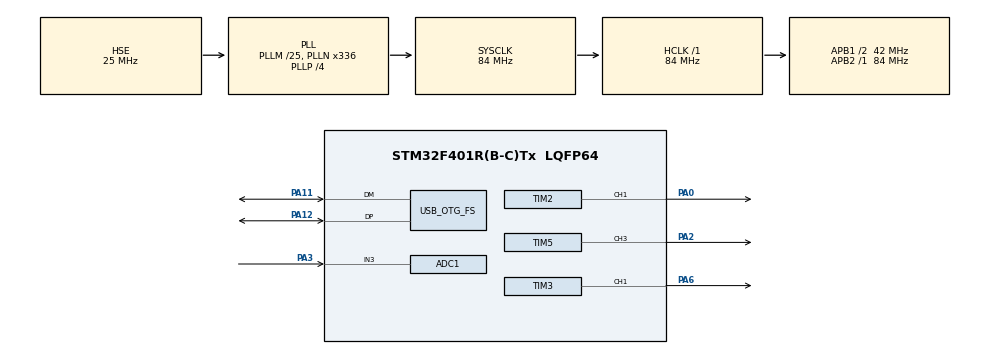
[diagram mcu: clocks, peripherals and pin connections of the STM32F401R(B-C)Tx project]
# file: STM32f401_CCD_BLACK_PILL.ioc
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ADC1.Channel-0\#ChannelRegularConversion=ADC_CHANNEL_3
ADC1.DMAContinuousRequests=ENABLE
ADC1.ExternalTrigConv=ADC_EXTERNALTRIGCONV_T4_CC4
ADC1.NbrOfConversionFlag=1
ADC1.Rank-0\#ChannelRegularConversion=1
ADC1.SamplingTime-0\#ChannelRegularConversion=ADC_SAMPLETIME_3CYCLES
ADC1.master=1
Dma.ADC1.0.Direction=DMA_PERIPH_TO_MEMORY
Dma.ADC1.0.FIFOMode=DMA_FIFOMODE_DISABLE
Dma.ADC1.0.Instance=DMA2_Stream0
Dma.ADC1.0.MemDataAlignment=DMA_MDATAALIGN_HALFWORD
Dma.ADC1.0.MemInc=DMA_MINC_ENABLE
Dma.ADC1.0.Mode=DMA_NORMAL
Dma.ADC1.0.PeriphDataAlignment=DMA_PDATAALIGN_HALFWORD
Dma.ADC1.0.PeriphInc=DMA_PINC_DISABLE
Dma.ADC1.0.Priority=DMA_PRIORITY_LOW
Dma.Request0=ADC1
Mcu.Family=STM32F4
Mcu.Name=STM32F401R(B-C)Tx
Mcu.Package=LQFP64
NVIC.DMA2_Stream0_IRQn=true\:0\:0\:false\:false\:true\:false\:true\:true
NVIC.OTG_FS_IRQn=true\:0\:0\:false\:false\:true\:false\:true\:true
NVIC.PriorityGroup=NVIC_PRIORITYGROUP_4
PA0-WKUP.Signal=S_TIM2_CH1_ETR
PA11.Mode=Device_Only
PA11.Signal=USB_OTG_FS_DM
PA12.Mode=Device_Only
PA12.Signal=USB_OTG_FS_DP
PA2.Signal=S_TIM5_CH3
PA3.Signal=ADCx_IN3
PA6.Signal=S_TIM3_CH1
PH0\ -\ OSC_IN.Mode=HSE-External-Oscillator
PH0\ -\ OSC_IN.Signal=RCC_OSC_IN
PH1\ -\ OSC_OUT.Mode=HSE-External-Oscillator
PH1\ -\ OSC_OUT.Signal=RCC_OSC_OUT
ProjectManager.HeapSize=0x200
ProjectManager.StackSize=0x400
ProjectManager.TargetToolchain=STM32CubeIDE
RCC.48MHZClocksFreq_Value=48000000
RCC.AHBFreq_Value=84000000
RCC.APB1CLKDivider=RCC_HCLK_DIV2
RCC.APB1Freq_Value=42000000
RCC.APB1TimFreq_Value=84000000
RCC.APB2Freq_Value=84000000
RCC.APB2TimFreq_Value=84000000
RCC.CortexFreq_Value=84000000
RCC.HCLKFreq_Value=84000000
RCC.HSE_VALUE=25000000
RCC.HSI_VALUE=16000000
RCC.LSE_VALUE=32768
RCC.PLLM=25
RCC.PLLN=336
RCC.PLLP=RCC_PLLP_DIV4
RCC.PLLQ=7
RCC.SYSCLKFreq_VALUE=84000000
RCC.SYSCLKSource=RCC_SYSCLKSOURCE_PLLCLK
RCC.VCOOutputFreq_Value=336000000
SH.ADCx_IN3.0=ADC1_IN3,IN3
SH.S_TIM2_CH1_ETR.0=TIM2_CH1,PWM Generation1 CH1
SH.S_TIM3_CH1.0=TIM3_CH1,PWM Generation1 CH1
SH.S_TIM5_CH3.0=TIM5_CH3,PWM Generation3 CH3
TIM2.Channel-PWM\ Generation1\ CH1=TIM_CHANNEL_1
TIM2.Period=630000-1
TIM2.Pulse-PWM\ Generation1\ CH1=840-1
TIM2.TIM_MasterOutputTrigger=TIM_TRGO_ENABLE
TIM2.TIM_MasterSlaveMode=TIM_MASTERSLAVEMODE_ENABLE
TIM3.Channel-PWM\ Generation1\ CH1=TIM_CHANNEL_1
TIM3.Period=42-1
TIM3.Pulse-PWM\ Generation1\ CH1=21-1
TIM4.Channel-PWM\ Generation4\ No\ Output=TIM_CHANNEL_4
TIM4.Period=168-1
TIM4.Pulse-PWM\ Generation4\ No\ Output=42-1
TIM5.Channel-PWM\ Generation3\ CH3=TIM_CHANNEL_3
TIM5.OCPolarity_3=TIM_OCPOLARITY_LOW
TIM5.Period=1680-1
TIM5.Pulse-PWM\ Generation3\ CH3=336-1
TIM5.TIM_MasterSlaveMode=TIM_MASTERSLAVEMODE_ENABLE
USB_DEVICE.CLASS_NAME_FS=CDC
USB_DEVICE.VirtualMode=Cdc
USB_DEVICE.VirtualModeFS=Cdc_FS
USB_OTG_FS.VirtualMode=Device_Only
VP_TIM2_VS_ClockSourceINT.Mode=Internal
VP_TIM3_VS_ClockSourceINT.Mode=Internal
VP_TIM4_VS_ClockSourceINT.Mode=Internal
VP_TIM4_VS_no_output4.Mode=PWM Generation4 No Output
VP_TIM5_VS_ClockSourceINT.Mode=Internal
VP_TIM5_VS_ClockSourceITR.Mode=TriggerSource_ITR0
VP_TIM5_VS_ControllerModeTrigger.Mode=Trigger Mode
VP_USB_DEVICE_VS_USB_DEVICE_CDC_FS.Mode=CDC_FS
board=custom

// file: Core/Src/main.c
/* USER CODE BEGIN Header */
/**
  ******************************************************************************
  * @file           : main.c
  * @brief          : Main program body
  ******************************************************************************
  * @attention
  *
  * Copyright (c) 2026 STMicroelectronics.
  * All rights reserved.
  *
  * This software is licensed under terms that can be found in the LICENSE file
  * in the root directory of this software component.
  * If no LICENSE file comes with this software, it is provided AS-IS.
  *
  ******************************************************************************
  */
/* USER CODE END Header */
#include "main.h"
#include "usb_device.h"

/* USER CODE BEGIN Includes */
#include "usbd_cdc_if.h"
#include "usbd_cdc.h"
#include <string.h>
/* USER CODE END Includes */

ADC_HandleTypeDef hadc1;
DMA_HandleTypeDef hdma_adc1;

TIM_HandleTypeDef htim2;
TIM_HandleTypeDef htim3;
TIM_HandleTypeDef htim4;
TIM_HandleTypeDef htim5;

/* USER CODE BEGIN PV */
uint32_t usbSendStartTick = 0;
volatile uint8_t pendingAck = 0;
volatile uint8_t pendingExposureUpdate = 0;
volatile uint32_t newTim2Arr = 0;
volatile uint32_t newTim5Arr = 0;
/* USER CODE END PV */

void SystemClock_Config(void);
static void MX_GPIO_Init(void);
static void MX_DMA_Init(void);
static void MX_TIM2_Init(void);
static void MX_TIM3_Init(void);
static void MX_TIM4_Init(void);
static void MX_TIM5_Init(void);
static void MX_ADC1_Init(void);

/* USER CODE BEGIN 0 */
#define CCDBuffer 3694
#define USBFrameSize (2 + CCDBuffer * 2)

volatile uint16_t CCDPixelBuffer[CCDBuffer];

volatile uint8_t frameReady = 0;
volatile uint8_t usbSending = 0;

uint8_t USBFrame[USBFrameSize];

extern USBD_HandleTypeDef hUsbDeviceFS;
/* USER CODE END 0 */

int main(void)
{

  /* MCU Configuration--------------------------------------------------------*/

  /* Reset of all peripherals, Initializes the Flash interface and the Systick. */
  HAL_Init();

  /* Configure the system clock */
  SystemClock_Config();

  /* Initialize all configured peripherals */
  MX_GPIO_Init();
  MX_DMA_Init();
  MX_TIM2_Init();
  MX_TIM3_Init();
  MX_TIM4_Init();
  MX_TIM5_Init();
  MX_USB_DEVICE_Init();
  MX_ADC1_Init();
  /* USER CODE BEGIN 2 */
  HAL_TIM_PWM_Start(&htim2, TIM_CHANNEL_1);	//ICG    //PA0
  HAL_TIM_PWM_Start(&htim4, TIM_CHANNEL_4);	//ADC
  HAL_TIM_PWM_Start(&htim3, TIM_CHANNEL_1);	//fM	//PA6
  HAL_TIM_PWM_Start(&htim5, TIM_CHANNEL_3);	//SH  //PA2

  /* USER CODE END 2 */

  /* Infinite loop */
  /* USER CODE BEGIN WHILE */
  while (1)
  {
      USBD_CDC_HandleTypeDef *hcdc = (USBD_CDC_HandleTypeDef*)hUsbDeviceFS.pClassData;

      if (frameReady && !usbSending)
      {
          frameReady = 0;

          USBFrame[0] = 0x55;
          USBFrame[1] = 0xAA;
          memcpy(&USBFrame[2], (uint8_t*)CCDPixelBuffer, CCDBuffer * sizeof(uint16_t));

          if (CDC_Transmit_FS(USBFrame, USBFrameSize) == USBD_OK)
          {
              usbSending = 1;
              usbSendStartTick = HAL_GetTick();
          }
          else
          {
              frameReady = 1;
          }
      }

      if (usbSending && (hcdc == NULL || hcdc->TxState == 0 ||
          (HAL_GetTick() - usbSendStartTick) > 100))
      {
          usbSending = 0;
      }

      if (pendingAck && hcdc != NULL && hcdc->TxState == 0)
      {
          pendingAck = 0;
          static uint8_t ack = 0xAC;
          CDC_Transmit_FS(&ack, 1);
      }
    /* USER CODE END WHILE */

  }
}

void SystemClock_Config(void)
{
  RCC_OscInitTypeDef RCC_OscInitStruct = {0};
  RCC_ClkInitTypeDef RCC_ClkInitStruct = {0};

  /** Configure the main internal regulator output voltage
  */
  __HAL_RCC_PWR_CLK_ENABLE();
  __HAL_PWR_VOLTAGESCALING_CONFIG(PWR_REGULATOR_VOLTAGE_SCALE2);

  /** Initializes the RCC Oscillators according to the specified parameters
  * in the RCC_OscInitTypeDef structure.
  */
  RCC_OscInitStruct.OscillatorType = RCC_OSCILLATORTYPE_HSE;
  RCC_OscInitStruct.HSEState = RCC_HSE_ON;
  RCC_OscInitStruct.PLL.PLLState = RCC_PLL_ON;
  RCC_OscInitStruct.PLL.PLLSource = RCC_PLLSOURCE_HSE;
  RCC_OscInitStruct.PLL.PLLM = 25;
  RCC_OscInitStruct.PLL.PLLN = 336;
  RCC_OscInitStruct.PLL.PLLP = RCC_PLLP_DIV4;
  RCC_OscInitStruct.PLL.PLLQ = 7;
  if (HAL_RCC_OscConfig(&RCC_OscInitStruct) != HAL_OK)
  {
    Error_Handler();
  }

  /** Initializes the CPU, AHB and APB buses clocks
  */
  RCC_ClkInitStruct.ClockType = RCC_CLOCKTYPE_HCLK|RCC_CLOCKTYPE_SYSCLK
                              |RCC_CLOCKTYPE_PCLK1|RCC_CLOCKTYPE_PCLK2;
  RCC_ClkInitStruct.SYSCLKSource = RCC_SYSCLKSOURCE_PLLCLK;
  RCC_ClkInitStruct.AHBCLKDivider = RCC_SYSCLK_DIV1;
  RCC_ClkInitStruct.APB1CLKDivider = RCC_HCLK_DIV2;
  RCC_ClkInitStruct.APB2CLKDivider = RCC_HCLK_DIV1;

  if (HAL_RCC_ClockConfig(&RCC_ClkInitStruct, FLASH_LATENCY_2) != HAL_OK)
  {
    Error_Handler();
  }
}

static void MX_ADC1_Init(void)
{

  ADC_ChannelConfTypeDef sConfig = {0};

  /** Configure the global features of the ADC (Clock, Resolution, Data Alignment and number of conversion)
  */
  hadc1.Instance = ADC1;
  hadc1.Init.ClockPrescaler = ADC_CLOCK_SYNC_PCLK_DIV4;
  hadc1.Init.Resolution = ADC_RESOLUTION_12B;
  hadc1.Init.ScanConvMode = DISABLE;
  hadc1.Init.ContinuousConvMode = DISABLE;
  hadc1.Init.DiscontinuousConvMode = DISABLE;
  hadc1.Init.ExternalTrigConvEdge = ADC_EXTERNALTRIGCONVEDGE_RISING;
  hadc1.Init.ExternalTrigConv = ADC_EXTERNALTRIGCONV_T4_CC4;
  hadc1.Init.DataAlign = ADC_DATAALIGN_RIGHT;
  hadc1.Init.NbrOfConversion = 1;
  hadc1.Init.DMAContinuousRequests = DISABLE;
  hadc1.Init.EOCSelection = ADC_EOC_SINGLE_CONV;
  if (HAL_ADC_Init(&hadc1) != HAL_OK)
  {
    Error_Handler();
  }

  /** Configure for the selected ADC regular channel its corresponding rank in the sequencer and its sample time.
  */
  sConfig.Channel = ADC_CHANNEL_3;
  sConfig.Rank = 1;
  sConfig.SamplingTime = ADC_SAMPLETIME_3CYCLES;
  if (HAL_ADC_ConfigChannel(&hadc1, &sConfig) != HAL_OK)
  {
    Error_Handler();
  }

}

static void MX_TIM2_Init(void)
{

  TIM_ClockConfigTypeDef sClockSourceConfig = {0};
  TIM_MasterConfigTypeDef sMasterConfig = {0};
  TIM_OC_InitTypeDef sConfigOC = {0};

  htim2.Instance = TIM2;
  htim2.Init.Prescaler = 0;
  htim2.Init.CounterMode = TIM_COUNTERMODE_UP;
  htim2.Init.Period = 840000-1;
  htim2.Init.ClockDivision = TIM_CLOCKDIVISION_DIV1;
  htim2.Init.AutoReloadPreload = TIM_AUTORELOAD_PRELOAD_DISABLE;
  if (HAL_TIM_Base_Init(&htim2) != HAL_OK)
  {
    Error_Handler();
  }
  sClockSourceConfig.ClockSource = TIM_CLOCKSOURCE_INTERNAL;
  if (HAL_TIM_ConfigClockSource(&htim2, &sClockSourceConfig) != HAL_OK)
  {
    Error_Handler();
  }
  if (HAL_TIM_PWM_Init(&htim2) != HAL_OK)
  {
    Error_Handler();
  }
  sMasterConfig.MasterOutputTrigger = TIM_TRGO_ENABLE;
  sMasterConfig.MasterSlaveMode = TIM_MASTERSLAVEMODE_ENABLE;
  if (HAL_TIMEx_MasterConfigSynchronization(&htim2, &sMasterConfig) != HAL_OK)
  {
    Error_Handler();
  }
  sConfigOC.OCMode = TIM_OCMODE_PWM1;
  sConfigOC.Pulse = 840-1;
  sConfigOC.OCPolarity = TIM_OCPOLARITY_HIGH;
  sConfigOC.OCFastMode = TIM_OCFAST_DISABLE;
  if (HAL_TIM_PWM_ConfigChannel(&htim2, &sConfigOC, TIM_CHANNEL_1) != HAL_OK)
  {
    Error_Handler();
  }
  /* USER CODE BEGIN TIM2_Init 2 */
  __HAL_TIM_ENABLE_IT(&htim2, TIM_IT_UPDATE);
  /* USER CODE END TIM2_Init 2 */
  HAL_TIM_MspPostInit(&htim2);

}

static void MX_TIM3_Init(void)
{

  TIM_ClockConfigTypeDef sClockSourceConfig = {0};
  TIM_MasterConfigTypeDef sMasterConfig = {0};
  TIM_OC_InitTypeDef sConfigOC = {0};

  htim3.Instance = TIM3;
  htim3.Init.Prescaler = 0;
  htim3.Init.CounterMode = TIM_COUNTERMODE_UP;
  htim3.Init.Period = 42-1;
  htim3.Init.ClockDivision = TIM_CLOCKDIVISION_DIV1;
  htim3.Init.AutoReloadPreload = TIM_AUTORELOAD_PRELOAD_DISABLE;
  if (HAL_TIM_Base_Init(&htim3) != HAL_OK)
  {
    Error_Handler();
  }
  sClockSourceConfig.ClockSource = TIM_CLOCKSOURCE_INTERNAL;
  if (HAL_TIM_ConfigClockSource(&htim3, &sClockSourceConfig) != HAL_OK)
  {
    Error_Handler();
  }
  if (HAL_TIM_PWM_Init(&htim3) != HAL_OK)
  {
    Error_Handler();
  }
  sMasterConfig.MasterOutputTrigger = TIM_TRGO_UPDATE;
  sMasterConfig.MasterSlaveMode = TIM_MASTERSLAVEMODE_ENABLE;
  if (HAL_TIMEx_MasterConfigSynchronization(&htim3, &sMasterConfig) != HAL_OK)
  {
    Error_Handler();
  }
  sConfigOC.OCMode = TIM_OCMODE_PWM1;
  sConfigOC.Pulse = 21-1;
  sConfigOC.OCPolarity = TIM_OCPOLARITY_HIGH;
  sConfigOC.OCFastMode = TIM_OCFAST_DISABLE;
  if (HAL_TIM_PWM_ConfigChannel(&htim3, &sConfigOC, TIM_CHANNEL_1) != HAL_OK)
  {
    Error_Handler();
  }
  /* USER CODE BEGIN TIM3_Init 2 */
  __HAL_TIM_URS_ENABLE(&htim3);
  /* USER CODE END TIM3_Init 2 */
  HAL_TIM_MspPostInit(&htim3);

}

static void MX_TIM4_Init(void)
{

  TIM_ClockConfigTypeDef sClockSourceConfig = {0};
  TIM_SlaveConfigTypeDef sSlaveConfig = {0};
  TIM_MasterConfigTypeDef sMasterConfig = {0};
  TIM_OC_InitTypeDef sConfigOC = {0};

  htim4.Instance = TIM4;
  htim4.Init.Prescaler = 0;
  htim4.Init.CounterMode = TIM_COUNTERMODE_UP;
  htim4.Init.Period = 168-1;
  htim4.Init.ClockDivision = TIM_CLOCKDIVISION_DIV1;
  htim4.Init.AutoReloadPreload = TIM_AUTORELOAD_PRELOAD_DISABLE;
  if (HAL_TIM_Base_Init(&htim4) != HAL_OK)
  {
    Error_Handler();
  }
  sClockSourceConfig.ClockSource = TIM_CLOCKSOURCE_INTERNAL;
  if (HAL_TIM_ConfigClockSource(&htim4, &sClockSourceConfig) != HAL_OK)
  {
    Error_Handler();
  }
  if (HAL_TIM_PWM_Init(&htim4) != HAL_OK)
  {
    Error_Handler();
  }
  sSlaveConfig.SlaveMode = TIM_SLAVEMODE_TRIGGER;
  sSlaveConfig.InputTrigger = TIM_TS_ITR2;
  if (HAL_TIM_SlaveConfigSynchro(&htim4, &sSlaveConfig) != HAL_OK)
  {
    Error_Handler();
  }
  sMasterConfig.MasterOutputTrigger = TIM_TRGO_RESET;
  sMasterConfig.MasterSlaveMode = TIM_MASTERSLAVEMODE_DISABLE;
  if (HAL_TIMEx_MasterConfigSynchronization(&htim4, &sMasterConfig) != HAL_OK)
  {
    Error_Handler();
  }
  sConfigOC.OCMode = TIM_OCMODE_PWM2;
  sConfigOC.Pulse = 147;
  sConfigOC.OCPolarity = TIM_OCPOLARITY_HIGH;
  sConfigOC.OCFastMode = TIM_OCFAST_DISABLE;
  if (HAL_TIM_PWM_ConfigChannel(&htim4, &sConfigOC, TIM_CHANNEL_4) != HAL_OK)
  {
    Error_Handler();
  }

}

static void MX_TIM5_Init(void)
{

  TIM_ClockConfigTypeDef sClockSourceConfig = {0};
  TIM_SlaveConfigTypeDef sSlaveConfig = {0};
  TIM_MasterConfigTypeDef sMasterConfig = {0};
  TIM_OC_InitTypeDef sConfigOC = {0};

  htim5.Instance = TIM5;
  htim5.Init.Prescaler = 0;
  htim5.Init.CounterMode = TIM_COUNTERMODE_UP;
  htim5.Init.Period = 1680-1;
  htim5.Init.ClockDivision = TIM_CLOCKDIVISION_DIV1;
  htim5.Init.AutoReloadPreload = TIM_AUTORELOAD_PRELOAD_DISABLE;
  if (HAL_TIM_Base_Init(&htim5) != HAL_OK)
  {
    Error_Handler();
  }
  sClockSourceConfig.ClockSource = TIM_CLOCKSOURCE_INTERNAL;
  if (HAL_TIM_ConfigClockSource(&htim5, &sClockSourceConfig) != HAL_OK)
  {
    Error_Handler();
  }
  if (HAL_TIM_PWM_Init(&htim5) != HAL_OK)
  {
    Error_Handler();
  }
  sSlaveConfig.SlaveMode = TIM_SLAVEMODE_TRIGGER;
  sSlaveConfig.InputTrigger = TIM_TS_ITR0;
  if (HAL_TIM_SlaveConfigSynchro(&htim5, &sSlaveConfig) != HAL_OK)
  {
    Error_Handler();
  }
  sMasterConfig.MasterOutputTrigger = TIM_TRGO_RESET;
  sMasterConfig.MasterSlaveMode = TIM_MASTERSLAVEMODE_ENABLE;
  if (HAL_TIMEx_MasterConfigSynchronization(&htim5, &sMasterConfig) != HAL_OK)
  {
    Error_Handler();
  }
  sConfigOC.OCMode = TIM_OCMODE_PWM1;
  sConfigOC.Pulse = 336-1;
  sConfigOC.OCPolarity = TIM_OCPOLARITY_LOW;
  sConfigOC.OCFastMode = TIM_OCFAST_DISABLE;
  if (HAL_TIM_PWM_ConfigChannel(&htim5, &sConfigOC, TIM_CHANNEL_3) != HAL_OK)
  {
    Error_Handler();
  }
  HAL_TIM_MspPostInit(&htim5);

}

static void MX_DMA_Init(void)
{

  /* DMA controller clock enable */
  __HAL_RCC_DMA2_CLK_ENABLE();

  /* DMA interrupt init */
  /* DMA2_Stream0_IRQn interrupt configuration */
  HAL_NVIC_SetPriority(DMA2_Stream0_IRQn, 0, 0);
  HAL_NVIC_EnableIRQ(DMA2_Stream0_IRQn);

}

static void MX_GPIO_Init(void)
{

  /* GPIO Ports Clock Enable */
  __HAL_RCC_GPIOH_CLK_ENABLE();
  __HAL_RCC_GPIOA_CLK_ENABLE();

}

/* USER CODE BEGIN 4 */
void HAL_TIM_PeriodElapsedCallback(TIM_HandleTypeDef *htim)
{
    if (htim->Instance == TIM2)
    {
        if (pendingExposureUpdate)
        {
            pendingExposureUpdate = 0;
            __HAL_TIM_SET_AUTORELOAD(&htim2, newTim2Arr);
            __HAL_TIM_SET_AUTORELOAD(&htim5, newTim5Arr);
            if (htim5.Instance->CNT > newTim5Arr)
                __HAL_TIM_SET_COUNTER(&htim5, 336);
        }
        if (!usbSending && !frameReady)
            HAL_ADC_Start_DMA(&hadc1, (uint32_t*)CCDPixelBuffer, CCDBuffer);
    }
}

void HAL_ADC_ConvCpltCallback(ADC_HandleTypeDef* hadc)
{
	//CDC_Transmit_FS((uint8_t*)CCDPixelBuffer, CCDBuffer * sizeof(uint16_t));

    if (hadc->Instance == ADC1)
    {
        HAL_ADC_Stop_DMA(&hadc1);
        frameReady = 1;
    }

}
/* USER CODE END 4 */

void Error_Handler(void)
{
  __disable_irq();
  while (1)
  {
  }
}
